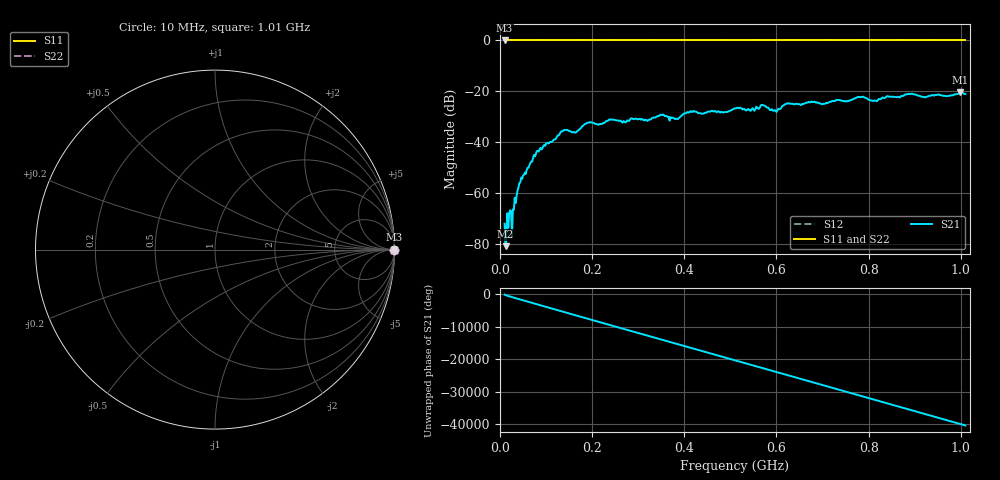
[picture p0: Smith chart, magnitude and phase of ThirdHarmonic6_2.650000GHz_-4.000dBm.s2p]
! 8/17/2025 6:02:25 AM
! C:\ANRITSUVNA\TEMP\TEMP.S2P
! CHANNEL.1
! TR.MEASUREMENT
! RAW.DATA
! RF.CORRECTION.OFF
! AVERAGING.OFF
! IF.BANDWIDTH: 5KHZ
! SWEEPTYPE:  FREQ.SWEEP(Linear)
! Reference Plane Port Info
! PORT:  PORT1  PORT2
! DISTANCE:  0  m  0  m
! TIME:  0  s  0  s
! PHASE.OFFSET:  0  deg.  0  deg.
! LOSS:  0  dB  0  dB
! REF.LOSS:  0  dB  0  dB
! REF.FREQ:  0  Hz  0  Hz
! Power Info
! POWER:  -20  dBm  -20  dBm
! EFF.POWER:  -20  dBm  -20  dBm
! SOURCE.ATTEN:  0  dB  0  dB
! TEST.ATTEN:  0  dB  0  dB
# GHZ S RI R 50.0
! FREQ.GHZ  S11RE  S11IM  S21RE  S21IM  S12RE  S12IM  S22RE  S22IM
!; PortSelection: Port_12
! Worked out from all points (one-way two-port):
!   501 points, 10 MHz to 1.01 GHz, reference 50 ohm
!   highest |S21| = -20.44 dB at 998 MHz (marker M1); lowest = -80.8 dB at 12 MHz (marker M2)
!   lowest |S11| = 0.0 dB at 10 MHz (marker M3)
!   |S11| at or under -10 dB: nowhere
!   |S22| runs from 0.0 to 0.0 dB; largest |S21 - S12| = 1.1
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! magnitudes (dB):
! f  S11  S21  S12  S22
! 10 MHz  0.0  -72.0  0.0  0.0
! 12 MHz  0.0  -80.8  0.0  0.0
! 16 MHz  0.0  -67.9  0.0  0.0
! 20 MHz  0.0  -67.8  0.0  0.0
! 22 MHz  0.0  -66.7  0.0  0.0
! 30 MHz  0.0  -66.5  0.0  0.0
! 36 MHz  0.0  -61.1  0.0  0.0
! 46 MHz  0.0  -53.8  0.0  0.0
! 78 MHz  0.0  -44.6  0.0  0.0
! 136 MHz  0.0  -35.7  0.0  0.0
! 178 MHz  0.0  -33.7  0.0  0.0
! 344 MHz  0.0  -29.7  0.0  0.0
! 384 MHz  0.0  -30.8  0.0  0.0
! 410 MHz  0.0  -28.3  0.0  0.0
! 510 MHz  0.0  -26.7  0.0  0.0
! 570 MHz  0.0  -25.3  0.0  0.0
! 596 MHz  0.0  -27.4  0.0  0.0
! 622 MHz  0.0  -24.8  0.0  0.0
! 678 MHz  0.0  -24.2  0.0  0.0
! 844 MHz  0.0  -22.1  0.0  0.0
! 998 MHz  0.0  -20.4  0.0  0.0
! 1.01 GHz  0.0  -21.1  0.0  0.0
